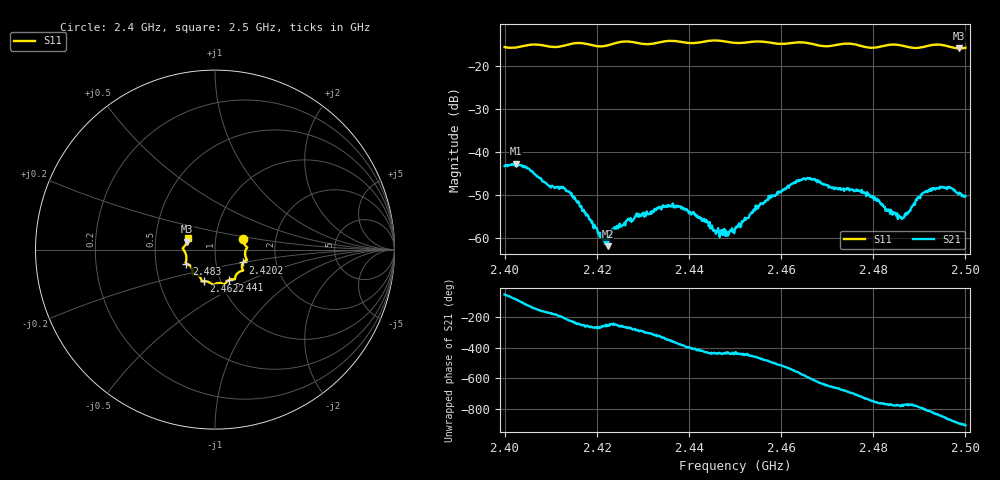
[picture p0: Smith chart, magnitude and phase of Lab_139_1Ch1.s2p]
# Hz S RI R 50
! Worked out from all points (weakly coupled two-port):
!   601 points, 2.4 GHz to 2.5 GHz, reference 50 ohm
!   highest |S21| = -42.71 dB at 2.4025 GHz (marker M1); lowest = -61.9 dB at 2.4223 GHz (marker M2)
!   lowest |S11| = -15.8 dB at 2.4987 GHz (marker M3), VSWR 1.39, Z = 36.4 + j3.29 ohm
!   |S11| at or under -10 dB: start of sweep to end of sweep
!   S12 and S22 are empty: the file has one direction only
!   S11 on the Smith chart (normalised r, x): 2.4 GHz: 1.36, +0.17; 2.4202 GHz: 1.35, -0.20; 2.441 GHz: 1.10, -0.39; 2.4622 GHz: 0.83, -0.30; 2.483 GHz: 0.72, -0.12; 2.5 GHz: 0.73, +0.09
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2.4e9  0.1565 0.0607  0.00411 -0.00554  0 0  0 0
2.4025e9  0.1635 0.0311  0.000538 -0.0073  0 0  0 0
2.412833e9  0.1701 -0.0392  -0.00343 0.0017  0 0  0 0
2.416667e9  0.1776 -0.0583  -0.000669 0.00226  0 0  0 0
2.420167e9  0.1563 -0.0718  0.000105 0.00119  0 0  0 0
2.422333e9  0.1494 -0.0925  -0.000251 0.000762  0 0  0 0
2.423833e9  0.1524 -0.1062  -0.000446 0.00125  0 0  0 0
2.433333e9  0.1129 -0.1521  0.00176 0.00139  0 0  0 0
2.437667e9  0.1055 -0.165  0.00223 -0.000581  0 0  0 0
2.441e9  0.077 -0.1704  0.00136 -0.00148  0 0  0 0
2.446333e9  0.0508 -0.1938  0.000235 -0.00128  0 0  0 0
2.45e9  0.0269 -0.1862  0.000355 -0.00125  0 0  0 0
2.455e9  -0.0101 -0.1954  -0.000619 -0.00212  0 0  0 0
2.462167e9  -0.063 -0.1763  -0.00421 8.59e-05  0 0  0 0
2.466667e9  -0.0765 -0.167  -0.00194 0.00438  0 0  0 0
2.477833e9  -0.1259 -0.1153  0.00338 -0.000419  0 0  0 0
2.483e9  -0.159 -0.078  0.00135 -0.00167  0 0  0 0
2.483333e9  -0.1606 -0.0773  0.00127 -0.00173  0 0  0 0
2.486333e9  -0.1618 -0.0655  0.000995 -0.00138  0 0  0 0
2.492833e9  -0.1779 0.00239  -0.000826 -0.00354  0 0  0 0
2.498667e9  -0.1559 0.0441  -0.00337 -0.000247  0 0  0 0
2.5e9  -0.153 0.0626  -0.00304 0.000435  0 0  0 0
